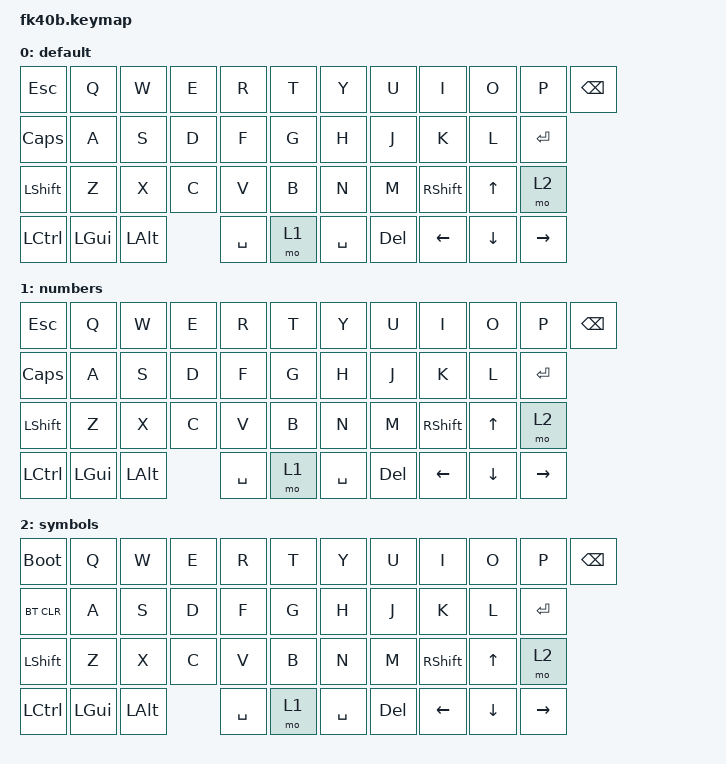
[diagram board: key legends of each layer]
/*
 * Copyright (c) 2020 The ZMK Contributors
 *
 * SPDX-License-Identifier: MIT
 */

#include <behaviors.dtsi>
#include <dt-bindings/zmk/keys.h>
#include <dt-bindings/zmk/bt.h>
#include <dt-bindings/zmk/outputs.h>

#define MOUSE_KEYS 2
#define MOUSE_TP 3
#define MOUSE_TP_SET 4


#define HAS_MOUSE_KEYS
#define HAS_MOUSE_TP

#ifdef HAS_MOUSE_KEYS
  #include <dt-bindings/zmk/mouse.h>
  #include <behaviors/mouse_keys.dtsi>
#endif  // HAS_MOUSE_KEYS

#ifdef HAS_MOUSE_TP
  // We store the trackpoint settings in a separate file
  // to make organization a little easier.
  #include "include/mouse_tp.dtsi"
#endif  // HAS_MOUSE_TP



/ {
    keymap {
        compatible = "zmk,keymap";

        default {
// --------------------------------------------------------------------------------------------------------------------------------------------------------------------
// ESC  | Q    |  W  |  E  |  R  |  T  |   Y  |  U  |  I   |    O    |  P    | BSP  |
// CAP  | A    |  S  |  D  |  F  |  G  |   H  |  J  |  K   |    L    |  Ent  |
// Lsft | Z    |  X  |  C  |  V  |  B  |   N  |  M  |RSHFT |    UP   |   MO2 |
// LCTL | LGUI | LALT      | SPC | MO1 |   SPC| DEL | LEFT |   DOWN  | RIGHT |
           bindings = <
            &kp ESC      &kp Q     &kp W       &kp E       &kp R       &kp T      &kp Y       &kp U    &kp I       &kp O       &kp P     &kp BSPC
            &kp CAPS   &kp A     &kp S       &kp D       &kp F       &kp G      &kp H       &kp J    &kp K       &kp L       &kp RET
            &kp LSHFT  &kp Z     &kp X       &kp C       &kp V       &kp B      &kp N       &kp M    &kp RSHFT   &kp UP      &mo 2
            &kp LCTRL  &kp LGUI  &kp LALT                &kp SPACE   &mo 1      &kp SPACE   &kp DEL  &kp LEFT    &kp DOWN    &kp RIGHT
            >;
        };
        numbers {
// --------------------------------------------------------------------------------------------------------------------------------------------------------------------
// ESC  | Q    |  W  |  E  |  R  |  T  |   Y  |  U  |  I   |    O    |  P    | BSP  |
// CAP  | A    |  S  |  D  |  F  |  G  |   H  |  J  |  K   |    L    |  Ent  |
// Lsft | Z    |  X  |  C  |  V  |  B  |   N  |  M  |RSHFT |    UP   |   MO2 |
// LCTL | LGUI | LALT      | SPC | MO1 |   SPC| DEL | LEFT |   DOWN  | RIGHT |
           bindings = <
            &kp ESC    &kp Q     &kp W       &kp E       &kp R       &kp T      &kp Y       &kp U    &kp I       &kp O       &kp P     &kp BSPC
            &kp CAPS   &kp A     &kp S       &kp D       &kp F       &kp G      &kp H       &kp J    &kp K       &kp L       &kp RET
            &kp LSHFT  &kp Z     &kp X       &kp C       &kp V       &kp B      &kp N       &kp M    &kp RSHFT   &kp UP      &mo 2
            &kp LCTRL  &kp LGUI  &kp LALT                &kp SPACE   &mo 1      &kp SPACE   &kp DEL  &kp LEFT    &kp DOWN    &kp RIGHT
            >;
        };
        symbols {
// --------------------------------------------------------------------------------------------------------------------------------------------------------------------
// ESC  | Q    |  W  |  E  |  R  |  T  |   Y  |  U  |  I   |    O    |  P    | BSP  |
// CAP  | A    |  S  |  D  |  F  |  G  |   H  |  J  |  K   |    L    |  Ent  |
// Lsft | Z    |  X  |  C  |  V  |  B  |   N  |  M  |RSHFT |    UP   |   MO2 |
// LCTL | LGUI | LALT      | SPC | MO1 |   SPC| DEL | LEFT |   DOWN  | RIGHT |
           bindings = <
            &bootloader  &kp Q     &kp W       &kp E       &kp R       &kp T      &kp Y       &kp U    &kp I       &kp O       &kp P     &kp BSPC
            &bt BT_CLR  &kp A     &kp S       &kp D       &kp F       &kp G      &kp H       &kp J    &kp K       &kp L       &kp RET
            &kp LSHFT    &kp Z     &kp X       &kp C       &kp V       &kp B      &kp N       &kp M    &kp RSHFT   &kp UP      &mo 2
            &kp LCTRL    &kp LGUI  &kp LALT                &kp SPACE   &mo 1      &kp SPACE   &kp DEL  &kp LEFT    &kp DOWN    &kp RIGHT
            >;
        };
    };
};
